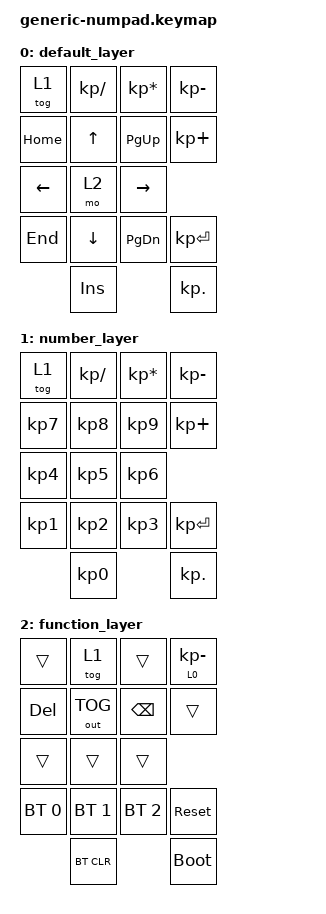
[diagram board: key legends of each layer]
#include <behaviors.dtsi>
#include <dt-bindings/zmk/keys.h>
#include <dt-bindings/zmk/bt.h>
#include <dt-bindings/zmk/outputs.h>




// ------------------default-----------------
// | LAYERSFT |    /    |    *    |    -    |
// |    7     |    8    |    9    |    +    |
// |    4     |    5    |    6    |         |
// |    1     |    2    |    3    |  ENTER  |
// |          |    0    |         |    .    |


// ----------------------------functions-------------------------------
// |  LAYERSFT  |    NOP             |    NOP    |   Bluetooth PREV   |
// |    NOP     |    LAYERSFT        |    NOP    |   Bluetooth Next   |
// |    NOP     |    OUT_TOG         |    NOP    |                    |
// |Bluetooth 0 |    Bluetooth 1     |Bluetooth 2|   reset            |
// |            |    BluetoothCLR    |           |   bootloader       |


// --------------------action layer------------------
// |     NOP   |     NOP   |     NOP   |     NOP    |
// |    HOME   |     UP    | PAGE_UP   |            |
// |Arrow Left |     NOP   |Arrow Right|     NOP    |
// |     END   |     DOWN  | PAGE_DOWN |     NOP    |
// |           |     INS   |           |    ENTER   |


//    behaviors {
//        td0: tap_dance_0 {
//            compatible = "zmk,behavior-tap-dance";
//            #binding-cells = <0>;
//            tapping-term-ms = <200>;
//            bindings = <&to 2>, <&to 0>;
//        };
//    };

&lt {
    tapping-term-ms = <200>;
};


/ {

    keymap {
        compatible = "zmk,keymap";

        default_layer {
            bindings = <
    &tog 1       &kp KP_DIVIDE  &kp KP_MULTIPLY  &kp KP_MINUS
    &kp HOME     &kp UP         &kp PG_UP        &kp KP_PLUS
    &kp LEFT     &mo 2          &kp RIGHT
    &kp END      &kp DOWN       &kp PG_DN        &kp KP_ENTER
                 &kp INS                         &kp KP_DOT
            >;
        };
        number_layer {
            bindings = <
    &tog 1       &kp KP_DIVIDE  &kp KP_MULTIPLY  &kp KP_MINUS
    &kp KP_N7    &kp KP_N8      &kp KP_N9        &kp KP_PLUS
    &kp KP_N4    &kp KP_N5      &kp KP_N6
    &kp KP_N1    &kp KP_N2      &kp KP_N3        &kp KP_ENTER
                 &kp KP_N0                       &kp KP_DOT
            >;
        };
        function_layer {
            bindings = <
    &trans       &tog 1         &trans           &lt 0 KP_MINUS
    &kp DEL      &out OUT_TOG   &kp BSPC         &trans
    &trans       &trans         &trans
    &bt BT_SEL 0 &bt BT_SEL 1   &bt BT_SEL 2     &sys_reset
                 &bt BT_CLR                      &bootloader
            >;
        };
    };
};
